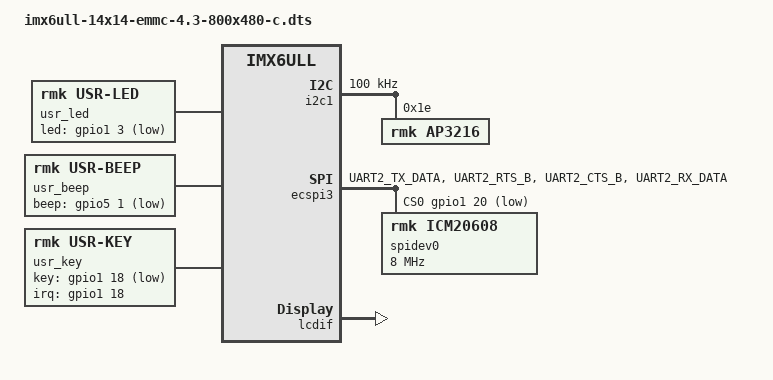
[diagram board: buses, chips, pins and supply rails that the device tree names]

#include "imx6ull-14x14-rmk-emmc.dts"

/ {
	usr_led {
		compatible = "rmk,usr-led";
		pinctrl-0 = <&pinctrl_gpio_led>;
		led-gpio = <&gpio1 3 GPIO_ACTIVE_LOW>;
		status = "okay";
	};

	usr_beep {
		compatible = "rmk,usr-beep";
		pinctrl-0 = <&pinctrl_gpio_beep>;
		beep-gpio = <&gpio5 1 GPIO_ACTIVE_LOW>;
		status = "okay";
	};

	usr_key {
		compatible = "rmk,usr-key";
		#address-cells = <1>;
		#size-cells = <1>; 
		pinctrl-0 = <&pinctrl_gpio_key>;
		key-gpio = <&gpio1 18 GPIO_ACTIVE_LOW>;
		interrupt-parent = <&gpio1>;
		interrupts = <18 IRQ_TYPE_EDGE_BOTH>;
		status = "okay";
	};
};

&iomuxc {
    pinctrl_gpio_led: gpio-leds {
        fsl,pins = <
            MX6UL_PAD_GPIO1_IO03__GPIO1_IO03	0x17059
        >;
    };

	/*beep pinctrl used add by zc*/
	pinctrl_gpio_beep: beep {
		fsl,pins = <
			MX6ULL_PAD_SNVS_TAMPER1__GPIO5_IO01	0x400010B0
		>;
	};

	pinctrl_gpio_key: gpio-keys {
		fsl,pins = <
			MX6UL_PAD_UART1_CTS_B__GPIO1_IO18	0x80000000
		>;
	};

	pinctrl_ecspi3: ecspi3grp {
        fsl,pins = <
			MX6UL_PAD_UART2_TX_DATA__GPIO1_IO20		  0x100b0
			MX6UL_PAD_UART2_RTS_B__ECSPI3_MISO        0x100b1  
			MX6UL_PAD_UART2_CTS_B__ECSPI3_MOSI        0x100b1 
			MX6UL_PAD_UART2_RX_DATA__ECSPI3_SCLK      0x100b1
        >;
	};  
};

&i2c1 {
	clock-frequency = <100000>;
	pinctrl-names = "default";
	pinctrl-0 = <&pinctrl_i2c1>;
	status = "okay";
	
	ap3216@1e {
		compatible = "rmk,ap3216";
		reg = <0x1e>;
	};
};

&ecspi3 {
	fsl,spi-num-chipselects = <1>;
	cs-gpios = <&gpio1 20 GPIO_ACTIVE_LOW>;
	pinctrl-names = "default";
	pinctrl-0 = <&pinctrl_ecspi3>;
	status = "okay";

	spidev0:icm20608@0 {
		compatible = "rmk,icm20608";
		spi-max-frequency = <8000000>;
		reg = <0>;
	};
};

&lcdif {
	assigned-clocks = <&clks IMX6UL_CLK_LCDIF_PRE_SEL>;
	assigned-clock-parents = <&clks IMX6UL_CLK_PLL5_VIDEO_DIV>;
	pinctrl-names = "default";
	pinctrl-0 = <&pinctrl_lcdif_dat
		     &pinctrl_lcdif_ctrl>;
	display = <&display0>;
	status = "okay";

	display0: display@0 {
		bits-per-pixel = <16>;
		bus-width = <24>;

		display-timings {
			native-mode = <&timing0>;
            
			timing0: timing0 {
                clock-frequency = <33000000>;
                hactive = <800>;
                vactive = <480>;
                hfront-porch = <40>;
                hback-porch = <88>;
                hsync-len = <48>;
                vback-porch = <32>;
                vfront-porch = <13>;
                vsync-len = <3>;

                hsync-active = <0>;
                vsync-active = <0>;
                de-active = <1>;
                pixelclk-active = <0>;
			};
		};
	};
};
